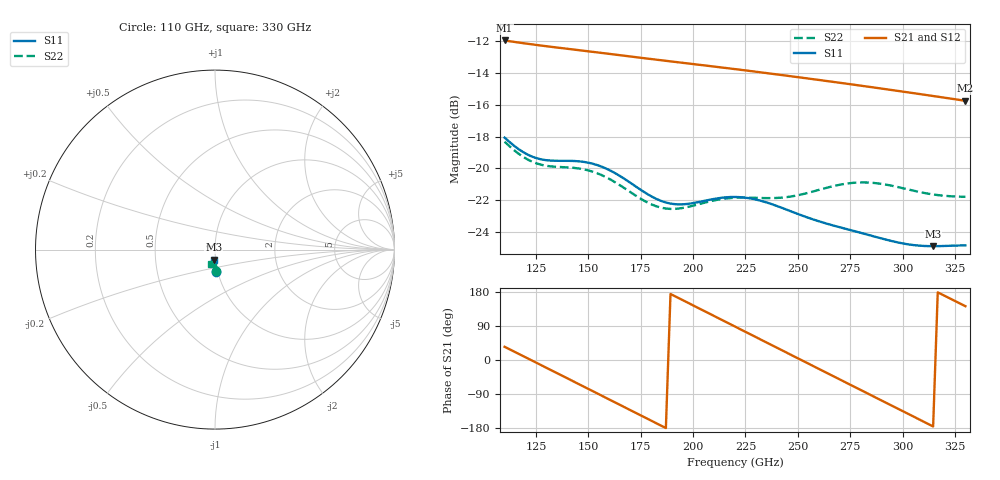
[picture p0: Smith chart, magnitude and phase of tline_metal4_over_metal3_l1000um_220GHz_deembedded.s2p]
! Created with skrf 2.0.1 (http://scikit-rf.org).
# GHz S DB R 50.0
!freq dBS11 angS11 dBS21 angS21 dBS12 angS12 dBS22 angS22
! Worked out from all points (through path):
!   101 points, 110 GHz to 330 GHz, reference 50 ohm
!   highest |S21| = -11.94 dB at 110 GHz (marker M1); lowest = -15.7 dB at 330 GHz (marker M2)
!   group delay of S21, straight-line fit = 7.75 ps
!   lowest |S11| = -24.9 dB at 314.6 GHz (marker M3), VSWR 1.12, Z = 49 - j5.55 ohm
!   |S11| at or under -10 dB: start of sweep to end of sweep
!   |S22| runs from -22.5 to -18.3 dB; largest |S21 - S12| = 2.2e-13
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110  -18.06 -87.2  -11.94 34.8  -11.94 34.8  -18.32 -86.8
118.8  -18.97 -86.3  -12.11 10.4  -12.11 10.4  -19.27 -85.6
127.6  -19.43 -84.4  -12.26 -14.0  -12.26 -14.0  -19.77 -83.4
138.6  -19.52 -84.1  -12.44 -44.6  -12.44 -44.6  -19.92 -82.7
147.4  -19.58 -86.5  -12.58 -69.1  -12.58 -69.1  -20.05 -84.6
156.2  -19.88 -90.0  -12.73 -93.7  -12.73 -93.7  -20.41 -87.4
165  -20.47 -93.1  -12.87 -118.2  -12.87 -118.2  -21.05 -89.4
176  -21.43 -94.3  -13.05 -148.9  -13.05 -148.9  -21.99 -88.8
184.8  -22.05 -92.6  -13.19 -173.5  -13.19 -173.5  -22.47 -85.8
193.6  -22.26 -89.9  -13.33 162.0  -13.33 162.0  -22.52 -82.4
204.6  -22.06 -88.6  -13.50 131.3  -13.50 131.3  -22.18 -80.7
220  -21.80 -92.0  -13.75 88.3  -13.75 88.3  -21.84 -82.5
228.8  -21.92 -95.2  -13.89 63.7  -13.89 63.7  -21.85 -83.8
239.8  -22.35 -98.5  -14.08 33.0  -14.08 33.0  -21.86 -84.4
248.6  -22.80 -100.1  -14.23 8.4  -14.23 8.4  -21.72 -84.5
257.4  -23.21 -100.7  -14.38 -16.1  -14.38 -16.1  -21.45 -85.3
268.4  -23.64 -100.9  -14.58 -46.8  -14.58 -46.8  -21.07 -88.1
277.2  -23.95 -101.0  -14.74 -71.3  -14.74 -71.3  -20.90 -91.5
294.8  -24.57 -100.1  -15.06 -120.3  -15.06 -120.3  -21.09 -98.7
305.8  -24.83 -98.6  -15.27 -150.9  -15.27 -150.9  -21.42 -101.6
314.6  -24.89 -97.3  -15.44 -175.3  -15.44 -175.3  -21.64 -103.0
330  -24.85 -96.6  -15.74 141.9  -15.74 141.9  -21.79 -105.3
